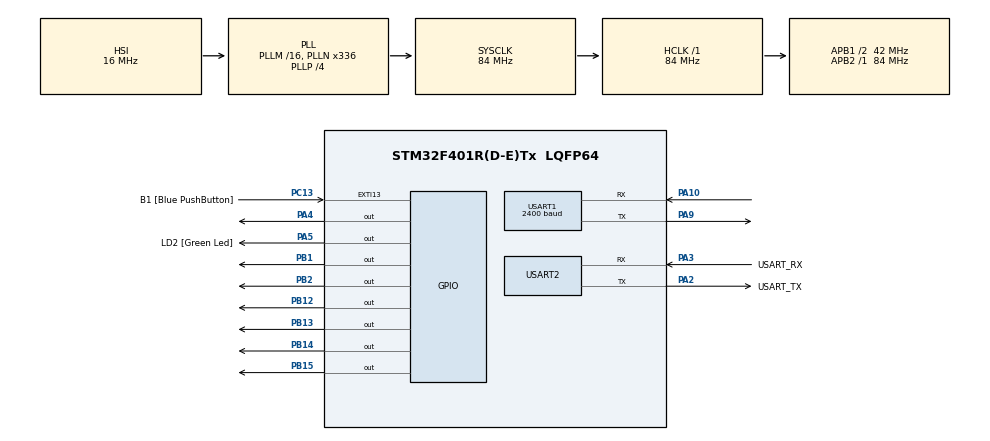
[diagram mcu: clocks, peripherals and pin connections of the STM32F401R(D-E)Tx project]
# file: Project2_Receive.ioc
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Mcu.Family=STM32F4
Mcu.Name=STM32F401R(D-E)Tx
Mcu.Package=LQFP64
NVIC.PriorityGroup=NVIC_PRIORITYGROUP_0
NVIC.USART1_IRQn=true\:0\:0\:false\:false\:true\:true\:true\:true
PA10.Mode=Asynchronous
PA10.Signal=USART1_RX
PA13.GPIO_Label=TMS
PA13.Mode=Serial_Wire
PA13.Signal=SYS_JTMS-SWDIO
PA14.GPIO_Label=TCK
PA14.Mode=Serial_Wire
PA14.Signal=SYS_JTCK-SWCLK
PA2.GPIO_Label=USART_TX
PA2.GPIO_Mode=GPIO_MODE_AF_PP
PA2.GPIO_PuPd=GPIO_NOPULL
PA2.GPIO_Speed=GPIO_SPEED_FREQ_LOW
PA2.Mode=Asynchronous
PA2.Signal=USART2_TX
PA3.GPIO_Label=USART_RX
PA3.GPIO_Mode=GPIO_MODE_AF_PP
PA3.GPIO_PuPd=GPIO_NOPULL
PA3.GPIO_Speed=GPIO_SPEED_FREQ_LOW
PA3.Mode=Asynchronous
PA3.Signal=USART2_RX
PA4.Signal=GPIO_Output
PA5.GPIO_Label=LD2 [Green Led]
PA5.GPIO_Mode=GPIO_MODE_OUTPUT_PP
PA5.GPIO_PuPd=GPIO_NOPULL
PA5.GPIO_Speed=GPIO_SPEED_FREQ_LOW
PA5.Signal=GPIO_Output
PA9.Mode=Asynchronous
PA9.Signal=USART1_TX
PB1.Signal=GPIO_Output
PB12.Signal=GPIO_Output
PB13.Signal=GPIO_Output
PB14.Signal=GPIO_Output
PB15.Signal=GPIO_Output
PB2.Signal=GPIO_Output
PB3.GPIO_Label=SWO
PB3.Signal=SYS_JTDO-SWO
PC13-ANTI_TAMP.GPIO_Label=B1 [Blue PushButton]
PC13-ANTI_TAMP.GPIO_ModeDefaultEXTI=GPIO_MODE_IT_FALLING
PC13-ANTI_TAMP.GPIO_PuPd=GPIO_NOPULL
PC13-ANTI_TAMP.Signal=GPXTI13
PC14-OSC32_IN.Mode=LSE-External-Oscillator
PC14-OSC32_IN.Signal=RCC_OSC32_IN
PC15-OSC32_OUT.Mode=LSE-External-Oscillator
PC15-OSC32_OUT.Signal=RCC_OSC32_OUT
PH0\ -\ OSC_IN.Mode=HSE-External-Clock-Source
PH0\ -\ OSC_IN.Signal=RCC_OSC_IN
PH1\ -\ OSC_OUT.Mode=HSE-External-Clock-Source
PH1\ -\ OSC_OUT.Signal=RCC_OSC_OUT
ProjectManager.HeapSize=0x200
ProjectManager.StackSize=0x400
ProjectManager.TargetToolchain=STM32CubeIDE
RCC.48MHZClocksFreq_Value=48000000
RCC.AHBFreq_Value=84000000
RCC.APB1CLKDivider=RCC_HCLK_DIV2
RCC.APB1Freq_Value=42000000
RCC.APB1TimFreq_Value=84000000
RCC.APB2Freq_Value=84000000
RCC.APB2TimFreq_Value=84000000
RCC.CortexFreq_Value=84000000
RCC.HCLKFreq_Value=84000000
RCC.HSE_VALUE=8000000
RCC.HSI_VALUE=16000000
RCC.PLLN=336
RCC.PLLP=RCC_PLLP_DIV4
RCC.PLLQ=7
RCC.SYSCLKFreq_VALUE=84000000
RCC.SYSCLKSource=RCC_SYSCLKSOURCE_PLLCLK
RCC.VCOOutputFreq_Value=336000000
USART1.BaudRate=2400
USART1.Mode=MODE_RX
USART1.VirtualMode=VM_ASYNC
USART2.VirtualMode=VM_ASYNC
board=NUCLEO-F401RE

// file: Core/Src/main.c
/* USER CODE BEGIN Header */
/**
  ******************************************************************************
  * @file           : main.c
  * @brief          : Main program body
  ******************************************************************************
  * @attention
  *
  * Copyright (c) 2023 STMicroelectronics.
  * All rights reserved.
  *
  * This software is licensed under terms that can be found in the LICENSE file
  * in the root directory of this software component.
  * If no LICENSE file comes with this software, it is provided AS-IS.
  *
  ******************************************************************************
  */
/* USER CODE END Header */
#include "main.h"

/* USER CODE BEGIN Includes */
#include "PMDB16_LCD.h"
/* USER CODE END Includes */

UART_HandleTypeDef huart1;
UART_HandleTypeDef huart2;

/* USER CODE BEGIN PV */
char Receive_Byte;
char string[32];
char stringUP[16];
char stringDOWN[16];
int index_ploting=0;
/* USER CODE END PV */

void SystemClock_Config(void);
static void MX_GPIO_Init(void);
static void MX_USART2_UART_Init(void);
static void MX_USART1_UART_Init(void);

/* USER CODE BEGIN 0 */
void PlotInLCD(){
	lcd_clear();
	for(int i=0;i<16;i++){
		stringUP[i]=string[i];
		stringDOWN[i]=string[i+16];
	}
	lcd_println(stringUP,0);
	lcd_println(stringDOWN,1);
}
void HAL_UART_RxCpltCallback(UART_HandleTypeDef *huart){
	HAL_UART_Receive_IT(&huart1,&Receive_Byte,1);
	//lcd_clear();
	//lcd_println(&Receive_Byte,0);
	string[index_ploting] = Receive_Byte;
	PlotInLCD();
	index_ploting++;
	if(index_ploting == 32){
		index_ploting=0;
		for(int i = 0; i < 32; i++) {
		    string[i] = '\0';
		}
	}
}
/* USER CODE END 0 */

int main(void)
{

  /* MCU Configuration--------------------------------------------------------*/

  /* Reset of all peripherals, Initializes the Flash interface and the Systick. */
  HAL_Init();

  /* Configure the system clock */
  SystemClock_Config();

  /* Initialize all configured peripherals */
  MX_GPIO_Init();
  MX_USART2_UART_Init();
  MX_USART1_UART_Init();
  /* USER CODE BEGIN 2 */
  // Initialize LCD
   lcd_initialize();
   lcd_backlight_ON();
   lcd_clear();

   HAL_UART_Receive_IT(&huart1,&Receive_Byte,1);
  /* USER CODE END 2 */

  /* Infinite loop */
  while (1)
  {

  }
}

void SystemClock_Config(void)
{
  RCC_OscInitTypeDef RCC_OscInitStruct = {0};
  RCC_ClkInitTypeDef RCC_ClkInitStruct = {0};

  /** Configure the main internal regulator output voltage
  */
  __HAL_RCC_PWR_CLK_ENABLE();
  __HAL_PWR_VOLTAGESCALING_CONFIG(PWR_REGULATOR_VOLTAGE_SCALE2);

  /** Initializes the RCC Oscillators according to the specified parameters
  * in the RCC_OscInitTypeDef structure.
  */
  RCC_OscInitStruct.OscillatorType = RCC_OSCILLATORTYPE_HSI;
  RCC_OscInitStruct.HSIState = RCC_HSI_ON;
  RCC_OscInitStruct.HSICalibrationValue = RCC_HSICALIBRATION_DEFAULT;
  RCC_OscInitStruct.PLL.PLLState = RCC_PLL_ON;
  RCC_OscInitStruct.PLL.PLLSource = RCC_PLLSOURCE_HSI;
  RCC_OscInitStruct.PLL.PLLM = 16;
  RCC_OscInitStruct.PLL.PLLN = 336;
  RCC_OscInitStruct.PLL.PLLP = RCC_PLLP_DIV4;
  RCC_OscInitStruct.PLL.PLLQ = 7;
  if (HAL_RCC_OscConfig(&RCC_OscInitStruct) != HAL_OK)
  {
    Error_Handler();
  }

  /** Initializes the CPU, AHB and APB buses clocks
  */
  RCC_ClkInitStruct.ClockType = RCC_CLOCKTYPE_HCLK|RCC_CLOCKTYPE_SYSCLK
                              |RCC_CLOCKTYPE_PCLK1|RCC_CLOCKTYPE_PCLK2;
  RCC_ClkInitStruct.SYSCLKSource = RCC_SYSCLKSOURCE_PLLCLK;
  RCC_ClkInitStruct.AHBCLKDivider = RCC_SYSCLK_DIV1;
  RCC_ClkInitStruct.APB1CLKDivider = RCC_HCLK_DIV2;
  RCC_ClkInitStruct.APB2CLKDivider = RCC_HCLK_DIV1;

  if (HAL_RCC_ClockConfig(&RCC_ClkInitStruct, FLASH_LATENCY_2) != HAL_OK)
  {
    Error_Handler();
  }
}

static void MX_USART1_UART_Init(void)
{

  huart1.Instance = USART1;
  huart1.Init.BaudRate = 2400;
  huart1.Init.WordLength = UART_WORDLENGTH_8B;
  huart1.Init.StopBits = UART_STOPBITS_1;
  huart1.Init.Parity = UART_PARITY_NONE;
  huart1.Init.Mode = UART_MODE_RX;
  huart1.Init.HwFlowCtl = UART_HWCONTROL_NONE;
  huart1.Init.OverSampling = UART_OVERSAMPLING_16;
  if (HAL_UART_Init(&huart1) != HAL_OK)
  {
    Error_Handler();
  }

}

static void MX_USART2_UART_Init(void)
{

  huart2.Instance = USART2;
  huart2.Init.BaudRate = 115200;
  huart2.Init.WordLength = UART_WORDLENGTH_8B;
  huart2.Init.StopBits = UART_STOPBITS_1;
  huart2.Init.Parity = UART_PARITY_NONE;
  huart2.Init.Mode = UART_MODE_TX_RX;
  huart2.Init.HwFlowCtl = UART_HWCONTROL_NONE;
  huart2.Init.OverSampling = UART_OVERSAMPLING_16;
  if (HAL_UART_Init(&huart2) != HAL_OK)
  {
    Error_Handler();
  }

}

static void MX_GPIO_Init(void)
{
  GPIO_InitTypeDef GPIO_InitStruct = {0};

  /* GPIO Ports Clock Enable */
  __HAL_RCC_GPIOC_CLK_ENABLE();
  __HAL_RCC_GPIOH_CLK_ENABLE();
  __HAL_RCC_GPIOA_CLK_ENABLE();
  __HAL_RCC_GPIOB_CLK_ENABLE();

  /*Configure GPIO pin Output Level */
  HAL_GPIO_WritePin(GPIOA, GPIO_PIN_4|LD2_Pin, GPIO_PIN_RESET);

  /*Configure GPIO pin Output Level */
  HAL_GPIO_WritePin(GPIOB, GPIO_PIN_1|GPIO_PIN_2|GPIO_PIN_12|GPIO_PIN_13
                          |GPIO_PIN_14|GPIO_PIN_15, GPIO_PIN_RESET);

  /*Configure GPIO pin : B1_Pin */
  GPIO_InitStruct.Pin = B1_Pin;
  GPIO_InitStruct.Mode = GPIO_MODE_IT_FALLING;
  GPIO_InitStruct.Pull = GPIO_NOPULL;
  HAL_GPIO_Init(B1_GPIO_Port, &GPIO_InitStruct);

  /*Configure GPIO pins : PA4 LD2_Pin */
  GPIO_InitStruct.Pin = GPIO_PIN_4|LD2_Pin;
  GPIO_InitStruct.Mode = GPIO_MODE_OUTPUT_PP;
  GPIO_InitStruct.Pull = GPIO_NOPULL;
  GPIO_InitStruct.Speed = GPIO_SPEED_FREQ_LOW;
  HAL_GPIO_Init(GPIOA, &GPIO_InitStruct);

  /*Configure GPIO pins : PB1 PB2 PB12 PB13
                           PB14 PB15 */
  GPIO_InitStruct.Pin = GPIO_PIN_1|GPIO_PIN_2|GPIO_PIN_12|GPIO_PIN_13
                          |GPIO_PIN_14|GPIO_PIN_15;
  GPIO_InitStruct.Mode = GPIO_MODE_OUTPUT_PP;
  GPIO_InitStruct.Pull = GPIO_NOPULL;
  GPIO_InitStruct.Speed = GPIO_SPEED_FREQ_LOW;
  HAL_GPIO_Init(GPIOB, &GPIO_InitStruct);

}

void Error_Handler(void)
{
  __disable_irq();
  while (1)
  {
  }
}
